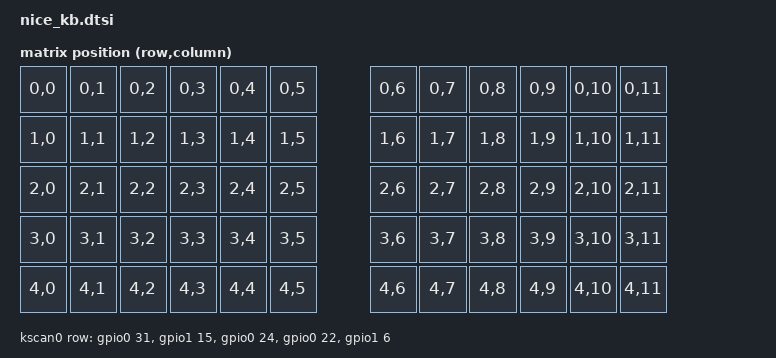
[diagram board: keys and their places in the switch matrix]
/*
 * nice_kb � Cosmos split, dual PMW3610 trackball, nice!nano v2.
 * Shared shield definition (kscan + matrix transform + trackball + physical layout).
 * NOTE: matrix map + physical layout are a PLACEHOLDER 5x12 grid.
 *       Replace with the real Cosmos matrix (51 keys) when exported.
 */

#include <dt-bindings/zmk/matrix_transform.h>
#include <physical_layouts.dtsi>
#include <zephyr/dt-bindings/input/input-event-codes.h>

/ {
    chosen {
        zmk,kscan = &kscan0;
        /* NOTE: no zmk,matrix-transform here — ZMK Studio forbids it.
           The transform attaches via grid_layout's `transform` property below. */
        zmk,physical-layout = &grid_layout;
    };

    default_transform: keymap_transform_0 {
        compatible = "zmk,matrix-transform";
        columns = <12>;
        rows = <5>;
        map = <
            RC(0,0) RC(0,1) RC(0,2) RC(0,3) RC(0,4) RC(0,5)   RC(0,6) RC(0,7) RC(0,8) RC(0,9) RC(0,10) RC(0,11)
            RC(1,0) RC(1,1) RC(1,2) RC(1,3) RC(1,4) RC(1,5)   RC(1,6) RC(1,7) RC(1,8) RC(1,9) RC(1,10) RC(1,11)
            RC(2,0) RC(2,1) RC(2,2) RC(2,3) RC(2,4) RC(2,5)   RC(2,6) RC(2,7) RC(2,8) RC(2,9) RC(2,10) RC(2,11)
            RC(3,0) RC(3,1) RC(3,2) RC(3,3) RC(3,4) RC(3,5)   RC(3,6) RC(3,7) RC(3,8) RC(3,9) RC(3,10) RC(3,11)
            RC(4,0) RC(4,1) RC(4,2) RC(4,3) RC(4,4) RC(4,5)   RC(4,6) RC(4,7) RC(4,8) RC(4,9) RC(4,10) RC(4,11)
        >;
    };

    kscan0: kscan {
        compatible = "zmk,kscan-gpio-matrix";
        wakeup-source;
        diode-direction = "row2col";              /* diodes: row -> col (confirmed from PCB) */
        row-gpios                                  /* rows are driven (outputs) */
            = <&gpio0 31 GPIO_ACTIVE_HIGH>         /* row1  P0.31 */
            , <&gpio1 15 GPIO_ACTIVE_HIGH>         /* row2  P1.15 */
            , <&gpio0 24 GPIO_ACTIVE_HIGH>         /* row3  P0.24 */
            , <&gpio0 22 GPIO_ACTIVE_HIGH>         /* row4  P0.22 */
            , <&gpio1  6 GPIO_ACTIVE_HIGH>         /* row5  P1.06 */
            ;
        /* col-gpios (inputs, pull-down) are defined per-half in the .overlay */
    };

    grid_layout: grid_layout {
        compatible = "zmk,physical-layout";
        display-name = "Grid";
        transform = <&default_transform>;
        keys =
            <&key_physical_attrs 100 100    0   0 0 0 0> ,
            <&key_physical_attrs 100 100  100   0 0 0 0> ,
            <&key_physical_attrs 100 100  200   0 0 0 0> ,
            <&key_physical_attrs 100 100  300   0 0 0 0> ,
            <&key_physical_attrs 100 100  400   0 0 0 0> ,
            <&key_physical_attrs 100 100  500   0 0 0 0> ,
            <&key_physical_attrs 100 100  700   0 0 0 0> ,
            <&key_physical_attrs 100 100  800   0 0 0 0> ,
            <&key_physical_attrs 100 100  900   0 0 0 0> ,
            <&key_physical_attrs 100 100 1000   0 0 0 0> ,
            <&key_physical_attrs 100 100 1100   0 0 0 0> ,
            <&key_physical_attrs 100 100 1200   0 0 0 0> ,
            <&key_physical_attrs 100 100    0 100 0 0 0> ,
            <&key_physical_attrs 100 100  100 100 0 0 0> ,
            <&key_physical_attrs 100 100  200 100 0 0 0> ,
            <&key_physical_attrs 100 100  300 100 0 0 0> ,
            <&key_physical_attrs 100 100  400 100 0 0 0> ,
            <&key_physical_attrs 100 100  500 100 0 0 0> ,
            <&key_physical_attrs 100 100  700 100 0 0 0> ,
            <&key_physical_attrs 100 100  800 100 0 0 0> ,
            <&key_physical_attrs 100 100  900 100 0 0 0> ,
            <&key_physical_attrs 100 100 1000 100 0 0 0> ,
            <&key_physical_attrs 100 100 1100 100 0 0 0> ,
            <&key_physical_attrs 100 100 1200 100 0 0 0> ,
            <&key_physical_attrs 100 100    0 200 0 0 0> ,
            <&key_physical_attrs 100 100  100 200 0 0 0> ,
            <&key_physical_attrs 100 100  200 200 0 0 0> ,
            <&key_physical_attrs 100 100  300 200 0 0 0> ,
            <&key_physical_attrs 100 100  400 200 0 0 0> ,
            <&key_physical_attrs 100 100  500 200 0 0 0> ,
            <&key_physical_attrs 100 100  700 200 0 0 0> ,
            <&key_physical_attrs 100 100  800 200 0 0 0> ,
            <&key_physical_attrs 100 100  900 200 0 0 0> ,
            <&key_physical_attrs 100 100 1000 200 0 0 0> ,
            <&key_physical_attrs 100 100 1100 200 0 0 0> ,
            <&key_physical_attrs 100 100 1200 200 0 0 0> ,
            <&key_physical_attrs 100 100    0 300 0 0 0> ,
            <&key_physical_attrs 100 100  100 300 0 0 0> ,
            <&key_physical_attrs 100 100  200 300 0 0 0> ,
            <&key_physical_attrs 100 100  300 300 0 0 0> ,
            <&key_physical_attrs 100 100  400 300 0 0 0> ,
            <&key_physical_attrs 100 100  500 300 0 0 0> ,
            <&key_physical_attrs 100 100  700 300 0 0 0> ,
            <&key_physical_attrs 100 100  800 300 0 0 0> ,
            <&key_physical_attrs 100 100  900 300 0 0 0> ,
            <&key_physical_attrs 100 100 1000 300 0 0 0> ,
            <&key_physical_attrs 100 100 1100 300 0 0 0> ,
            <&key_physical_attrs 100 100 1200 300 0 0 0> ,
            <&key_physical_attrs 100 100    0 400 0 0 0> ,
            <&key_physical_attrs 100 100  100 400 0 0 0> ,
            <&key_physical_attrs 100 100  200 400 0 0 0> ,
            <&key_physical_attrs 100 100  300 400 0 0 0> ,
            <&key_physical_attrs 100 100  400 400 0 0 0> ,
            <&key_physical_attrs 100 100  500 400 0 0 0> ,
            <&key_physical_attrs 100 100  700 400 0 0 0> ,
            <&key_physical_attrs 100 100  800 400 0 0 0> ,
            <&key_physical_attrs 100 100  900 400 0 0 0> ,
            <&key_physical_attrs 100 100 1000 400 0 0 0> ,
            <&key_physical_attrs 100 100 1100 400 0 0 0> ,
            <&key_physical_attrs 100 100 1200 400 0 0 0> ;
    };
};

/* ---- Trackball: PMW3610 on SPI0 (3-wire: MISO psel == MOSI == P0.17 SDIO) ---- */
&spi0 {
    status = "okay";
    compatible = "nordic,nrf-spim";
    pinctrl-0 = <&spi0_default>;
    pinctrl-1 = <&spi0_sleep>;
    pinctrl-names = "default", "sleep";
    cs-gpios = <&gpio0 20 GPIO_ACTIVE_LOW>;        /* nCS  P0.20 */

    trackball: trackball@0 {
        status = "okay";
        compatible = "pixart,pmw3610-alt";
        reg = <0>;
        spi-max-frequency = <2000000>;
        irq-gpios = <&gpio0 6 (GPIO_ACTIVE_LOW | GPIO_PULL_UP)>;   /* MOTION P0.06 */
        cpi = <1000>;
        invert-x;
        evt-type = <INPUT_EV_REL>;
        x-input-code = <INPUT_REL_X>;
        y-input-code = <INPUT_REL_Y>;
    };
};

&pinctrl {
    spi0_default: spi0_default {
        group1 {
            psels = <NRF_PSEL(SPIM_SCK, 0, 8)>,    /* SCLK P0.08 */
                <NRF_PSEL(SPIM_MOSI, 0, 17)>,      /* SDIO P0.17 */
                <NRF_PSEL(SPIM_MISO, 0, 17)>;      /* 3-wire: MISO == MOSI pin */
        };
    };
    spi0_sleep: spi0_sleep {
        group1 {
            psels = <NRF_PSEL(SPIM_SCK, 0, 8)>,
                <NRF_PSEL(SPIM_MOSI, 0, 17)>,
                <NRF_PSEL(SPIM_MISO, 0, 17)>;
            low-power-enable;
        };
    };
};

/ {
    trackball_listener {
        compatible = "zmk,input-listener";
        device = <&trackball>;
    };
};
